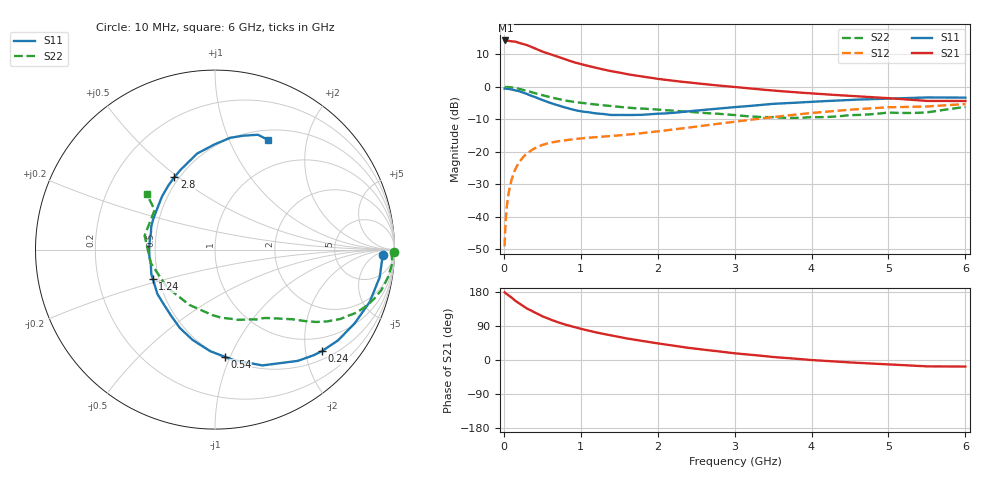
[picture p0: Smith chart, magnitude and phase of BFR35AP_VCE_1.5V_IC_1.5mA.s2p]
! Infineon Technologies  Discrete & RF Semiconductors
! BFR35AP
! VCE =  1.5 V,  IC =  1.5 mA
! Common Emitter S-Parameters:  Nov 2015
# GHz  S  MA  R  50
!  f  S11  S21  S12  S22
! GHz  MAG  ANG  MAG  ANG  MAG  ANG  MAG  ANG
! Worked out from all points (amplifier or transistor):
!   210 points, 10 MHz to 6 GHz, reference 50 ohm
!   highest |S21| = 14.2 dB at 20 MHz (marker M1)
!   |S21| within 3 dB of that: start of sweep to 457.9 MHz
!   unconditionally stable (mu >= 1): 1.24 GHz to end of sweep
!   at 185 MHz: K = 0.19, MSG = 18.7 dB, |S12| = -23.8 dB
!   at 1.52 GHz: K = 1.13, MAG = 7.4 dB, |S12| = -15.0 dB
!   at 6 GHz: K = 1.05, MAG = -0.9 dB, |S12| = -5.3 dB
!   S11 on the Smith chart (normalised r, x): 10 MHz: 24, -12; 240 MHz: 0.67, -2.34; 540 MHz: 0.51, -0.95; 1.24 GHz: 0.46, -0.18; 2.8 GHz: 0.47, +0.48; 6 GHz: 0.62, +1.40
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0.01  0.9349 -1.9  5.055 178.8  0.0035 87.7  0.9972 -0.9
0.02  0.9326 -3.7  5.153 176.8  0.0073 91.8  0.9854 -1.8
0.045  0.9301 -8.5  5.105 173.0  0.0165 83.9  0.9897 -4.1
0.095  0.911 -17.8  5.009 165.6  0.0348 78.6  0.9773 -8.6
0.15  0.8796 -28.0  4.933 156.2  0.0537 72.8  0.9545 -13.6
0.24  0.8215 -43.5  4.581 143.9  0.0793 64.4  0.9023 -20.1
0.3  0.773 -53.3  4.374 135.9  0.0943 59.7  0.8625 -24.0
0.38  0.7087 -64.6  3.995 127.8  0.1087 54.0  0.8091 -28.0
0.5  0.6256 -80.2  3.48 115.4  0.1267 47.5  0.7395 -32.8
0.54  0.5986 -84.9  3.352 112.3  0.1308 45.9  0.72 -33.9
0.7  0.5187 -103.9  2.905 99.8  0.1442 41.0  0.6488 -38.0
0.8  0.4788 -114.1  2.634 93.3  0.1498 38.7  0.6123 -40.0
1.02  0.4147 -134.7  2.197 81.4  0.1606 36.0  0.5618 -43.5
1.24  0.3837 -154.5  1.903 71.1  0.1688 35.0  0.5244 -47.1
1.58  0.3666 179.6  1.578 57.6  0.1815 36.0  0.4796 -52.7
2.02  0.3842 153.1  1.312 43.2  0.2066 38.0  0.442 -61.6
2.8  0.4622 119.4  1.04 22.5  0.2696 38.4  0.3821 -84.3
3.1  0.4945 110.4  0.964 15.9  0.2999 36.7  0.3561 -96.3
4.1  0.5935 88.6  0.774 -1.3  0.4028 27.1  0.3393 -147.4
5.1  0.6599 74.5  0.653 -12.6  0.4846 13.0  0.3955 164.4
5.5  0.6831 69.5  0.604 -16.8  0.4962 6.6  0.4023 146.7
6  0.6788 64.3  0.602 -17.3  0.5407 2.4  0.4885 140.9
